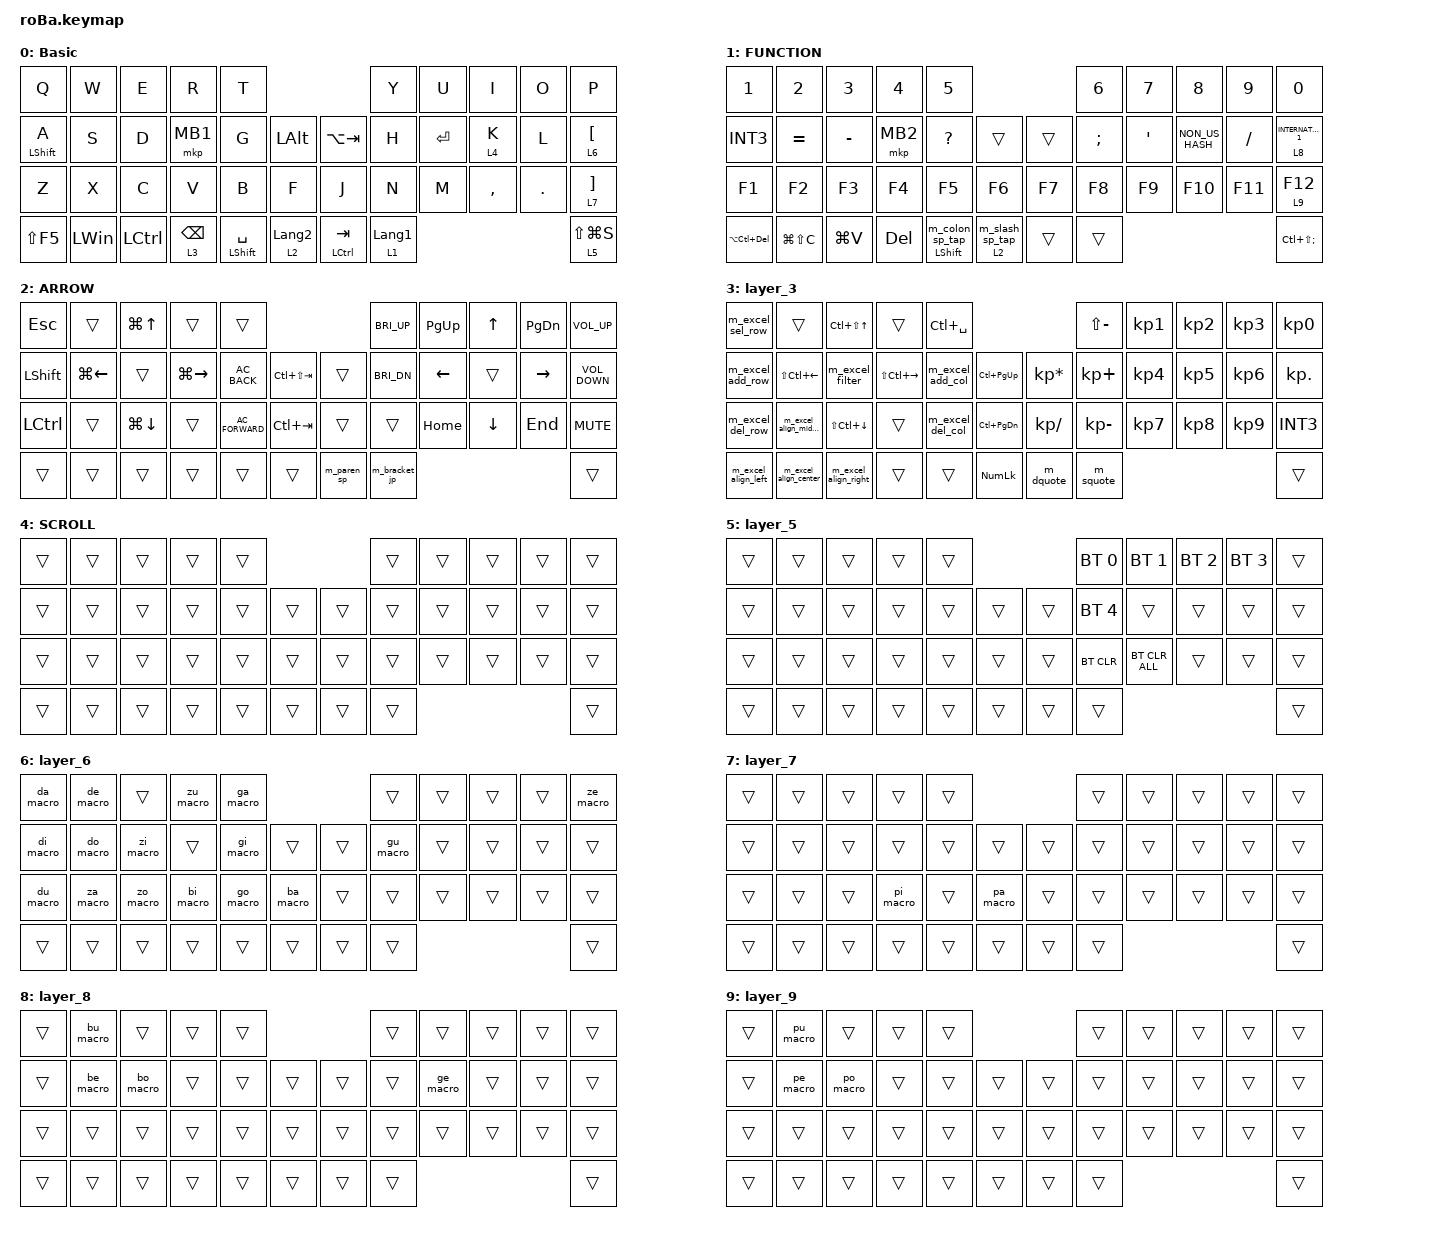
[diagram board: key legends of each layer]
#include <behaviors.dtsi>
#include <dt-bindings/zmk/bt.h>
#include <dt-bindings/zmk/keys.h>
#include <dt-bindings/zmk/pointing.h>

// ==========================================================
// グローバル設定
// ==========================================================

&trackball { scroll-layers = <4>; };

&mt {
    flavor = "balanced";
    tapping-term-ms = <200>;
    quick-tap-ms = <175>;
    require-prior-idle-ms = <35>;
    retro-tap;
};

&lt {
    flavor = "balanced";
    tapping-term-ms = <200>;
    quick-tap-ms = <175>;
};

&kscan0 { debounce-period = <10>; };

/ {
    combos {
        compatible = "zmk,combos";
        timeout-ms = <80>;

        // --- システム・編集系 (既存) ---

        tab {
            bindings = <&kp TAB>;
            key-positions = <11 12>;
        };

        muhennkann {
            bindings = <&to_layer_0 INT_MUHENKAN>;
            key-positions = <11 10>;
        };

        select_all {
            bindings = <&kp LC(A)>;
            key-positions = <10 22>;
        };

        copy {
            bindings = <&kp LC(C)>;
            key-positions = <22 24>;
        };

        paste {
            bindings = <&kp LC(V)>;
            key-positions = <22 25>;
        };

        cut {
            bindings = <&kp LC(X)>;
            key-positions = <22 23>;
        };

        // --- 濁音・半濁音コンボ (既存) ---

        c_da {
            key-positions = <0 21>;
            bindings = <&da_macro>;
        };

        c_de {
            key-positions = <1 21>;
            bindings = <&de_macro>;
        };

        c_zu {
            key-positions = <3 21>;
            bindings = <&zu_macro>;
        };

        c_ga {
            key-positions = <4 21>;
            bindings = <&ga_macro>;
        };

        c_di {
            key-positions = <10 21>;
            bindings = <&di_macro>;
        };

        c_do {
            key-positions = <11 21>;
            bindings = <&do_macro>;
        };

        c_zi {
            key-positions = <12 21>;
            bindings = <&zi_macro>;
        };

        c_gi {
            key-positions = <14 21>;
            bindings = <&gi_macro>;
        };

        c_gu {
            key-positions = <17 21>;
            bindings = <&gu_macro>;
        };

        c_du {
            key-positions = <22 21>;
            bindings = <&du_macro>;
        };

        c_za {
            key-positions = <23 21>;
            bindings = <&za_macro>;
        };

        c_zo {
            key-positions = <24 21>;
            bindings = <&zo_macro>;
        };

        c_bi {
            key-positions = <25 21>;
            bindings = <&bi_macro>;
        };

        c_go {
            key-positions = <26 21>;
            bindings = <&go_macro>;
        };

        c_ba {
            key-positions = <27 21>;
            bindings = <&ba_macro>;
        };

        c_pa {
            key-positions = <27 33>;
            bindings = <&pa_macro>;
        };

        c_pi {
            key-positions = <25 33>;
            bindings = <&pi_macro>;
        };

        c_bu {
            key-positions = <1 41 21>;
            bindings = <&bu_macro>;
        };

        c_bo {
            key-positions = <12 41 21>;
            bindings = <&bo_macro>;
        };

        c_be {
            key-positions = <11 41 21>;
            bindings = <&be_macro>;
        };

        c_ze {
            key-positions = <9 41 21>;
            bindings = <&ze_macro>;
        };

        c_ge {
            key-positions = <18 41 21>;
            bindings = <&ge_macro>;
        };

        c_pu {
            key-positions = <1 41 33>;
            bindings = <&pu_macro>;
        };

        c_po {
            key-positions = <12 41 33>;
            bindings = <&po_macro>;
        };

        c_pe {
            key-positions = <11 41 33>;
            bindings = <&pe_macro>;
        };

        // --- 特殊かな L1コンボ (既存) ---

        c_nu {
            key-positions = <0 41>;
            bindings = <&kp N1>;
        };

        c_fu {
            key-positions = <1 41>;
            bindings = <&kp N2>;
        };

        c_a {
            key-positions = <2 41>;
            bindings = <&kp N3>;
        };

        c_u {
            key-positions = <3 41>;
            bindings = <&kp N4>;
        };

        c_e {
            key-positions = <4 41>;
            bindings = <&kp N5>;
        };

        c_o {
            key-positions = <5 41>;
            bindings = <&kp N6>;
        };

        c_ho {
            key-positions = <12 41>;
            bindings = <&kp MINUS>;
        };

        c_he {
            key-positions = <11 41>;
            bindings = <&kp EQUAL>;
        };

        c_ya {
            key-positions = <6 41>;
            bindings = <&kp N7>;
        };

        c_yu {
            key-positions = <7 41>;
            bindings = <&kp N8>;
        };

        c_yo {
            key-positions = <8 41>;
            bindings = <&kp N9>;
        };

        c_wa {
            key-positions = <9 41>;
            bindings = <&kp N0>;
        };

        c_cho {
            key-positions = <10 41>;
            bindings = <&kp INT3>;
        };

        c_ro {
            key-positions = <21 41>;
            bindings = <&kp INTERNATIONAL_1>;
        };

        c_re {
            key-positions = <17 41>;
            bindings = <&kp SEMICOLON>;
        };

        c_ke {
            key-positions = <18 41>;
            bindings = <&kp SQT>;
        };

        c_mu {
            key-positions = <19 41>;
            bindings = <&kp NON_US_HASH>;
        };

        c_me {
            key-positions = <20 41>;
            bindings = <&kp SLASH>;
        };

        // --- 小書き・句読点 (既存) ---

        c_s_i {
            key-positions = <2 38>;
            bindings = <&kp LS(E)>;
        };

        c_s_tu {
            key-positions = <22 38>;
            bindings = <&kp LS(Z)>;
        };

        c_ten {
            key-positions = <31 38>;
            bindings = <&kp LS(COMMA)>;
        };

        c_maru {
            key-positions = <32 38>;
            bindings = <&kp LS(DOT)>;
        };

        c_s_a {
            key-positions = <2 38 41>;
            bindings = <&kp LS(N3)>;
        };

        c_s_u {
            key-positions = <3 38 41>;
            bindings = <&kp LS(N4)>;
        };

        c_s_e {
            key-positions = <4 38 41>;
            bindings = <&kp LS(N5)>;
        };

        c_s_o {
            key-positions = <5 38 41>;
            bindings = <&kp LS(N6)>;
        };

        c_s_ya {
            key-positions = <6 38 41>;
            bindings = <&kp LS(N7)>;
        };

        c_s_yu {
            key-positions = <7 38 41>;
            bindings = <&kp LS(N8)>;
        };

        c_s_yo {
            key-positions = <8 38 41>;
            bindings = <&kp LS(N9)>;
        };

        c_wo {
            key-positions = <9 38 41>;
            bindings = <&kp LS(N0)>;
        };

        // ==========================================================
        // 拗音・外来語コンボ
        // ==========================================================

        c_kya {
            key-positions = <14 6>;
            bindings = <&m_kya>;
        };

        c_kyu {
            key-positions = <14 7>;
            bindings = <&m_kyu>;
        };

        c_kyo {
            key-positions = <14 8>;
            bindings = <&m_kyo>;
        };

        c_sha {
            key-positions = <12 6>;
            bindings = <&m_sha>;
        };

        c_shu {
            key-positions = <12 7>;
            bindings = <&m_shu>;
        };

        c_sho {
            key-positions = <12 8>;
            bindings = <&m_sho>;
        };

        c_she {
            key-positions = <12 32>;
            bindings = <&m_she>;
        };

        c_cha {
            key-positions = <10 6>;
            bindings = <&m_cha>;
        };

        c_chu {
            key-positions = <10 7>;
            bindings = <&m_chu>;
        };

        c_cho_y {
            key-positions = <10 8>;
            bindings = <&m_cho_y>;
        };

        c_che {
            key-positions = <10 32>;
            bindings = <&m_che>;
        };

        c_hya {
            key-positions = <25 6>;
            bindings = <&m_hya>;
        };

        c_hyu {
            key-positions = <25 7>;
            bindings = <&m_hyu>;
        };

        c_hyo {
            key-positions = <25 8>;
            bindings = <&m_hyo>;
        };

        c_nya {
            key-positions = <7 1>;
            bindings = <&m_nya>;
        };

        c_nyu {
            key-positions = <7 2>;
            bindings = <&m_nyu>;
        };

        c_nyo {
            key-positions = <7 3>;
            bindings = <&m_nyo>;
        };

        c_mya {
            key-positions = <29 1>;
            bindings = <&m_mya>;
        };

        c_myu {
            key-positions = <29 2>;
            bindings = <&m_myu>;
        };

        c_myo {
            key-positions = <29 3>;
            bindings = <&m_myo>;
        };

        c_rya {
            key-positions = <20 1>;
            bindings = <&m_rya>;
        };

        c_ryu {
            key-positions = <20 2>;
            bindings = <&m_ryu>;
        };

        c_ryo {
            key-positions = <20 3>;
            bindings = <&m_ryo>;
        };

        c_fa {
            key-positions = <1 41 29>;
            bindings = <&m_fa>;
        };

        c_fi {
            key-positions = <1 41 30>;
            bindings = <&m_fi>;
        };

        c_fyu {
            key-positions = <1 41 7>;
            bindings = <&m_fyu>;
        };

        c_fe {
            key-positions = <1 41 32>;
            bindings = <&m_fe>;
        };

        c_fo {
            key-positions = <1 41 33>;
            bindings = <&m_fo>;
        };

        c_gya {
            key-positions = <14 6 21>;
            bindings = <&m_gya>;
        };

        c_gyu {
            key-positions = <14 7 21>;
            bindings = <&m_gyu>;
        };

        c_gyo {
            key-positions = <14 8 21>;
            bindings = <&m_gyo>;
        };

        c_ja {
            key-positions = <12 6 21>;
            bindings = <&m_ja>;
        };

        c_ju {
            key-positions = <12 7 21>;
            bindings = <&m_ju>;
        };

        c_jo {
            key-positions = <12 8 21>;
            bindings = <&m_jo>;
        };

        c_je {
            key-positions = <12 32 21>;
            bindings = <&m_je>;
        };

        c_bya {
            key-positions = <25 6 21>;
            bindings = <&m_bya>;
        };

        c_byu {
            key-positions = <25 7 21>;
            bindings = <&m_byu>;
        };

        c_byo {
            key-positions = <25 8 21>;
            bindings = <&m_byo>;
        };

        c_va {
            key-positions = <1 41 21 29>;
            bindings = <&m_va>;
        };

        c_vi {
            key-positions = <1 41 21 30>;
            bindings = <&m_vi>;
        };

        c_ve {
            key-positions = <1 41 21 32>;
            bindings = <&m_ve>;
        };

        c_vo {
            key-positions = <1 41 21 33>;
            bindings = <&m_vo>;
        };

        c_pya {
            key-positions = <25 6 33>;
            bindings = <&m_pya>;
        };

        c_pyu {
            key-positions = <25 7 33>;
            bindings = <&m_pyu>;
        };

        c_pyo {
            key-positions = <25 8 33>;
            bindings = <&m_pyo>;
        };

        // --- 追加: 拗音・外来語コンボ ---

        c_ti {
            key-positions = <1 30>;
            bindings = <&m_ti>;
        };

        c_di_ext {
            key-positions = <1 21 30>;
            bindings = <&m_di>;
        };

        c_tu {
            key-positions = <11 31>;
            bindings = <&m_tu>;
        };

        c_du_ext {
            key-positions = <11 21 31>;
            bindings = <&m_du>;
        };

        c_wi {
            key-positions = <3 41 30>;
            bindings = <&m_wi>;
        };

        c_we {
            key-positions = <3 41 32>;
            bindings = <&m_we>;
        };

        c_wo_ext {
            key-positions = <3 41 33>;
            bindings = <&m_wo>;
        };

        c_tsa {
            key-positions = <22 29>;
            bindings = <&m_tsa>;
        };

        c_tsi {
            key-positions = <22 30>;
            bindings = <&m_tsi>;
        };

        c_tse {
            key-positions = <22 32>;
            bindings = <&m_tse>;
        };

        c_tso {
            key-positions = <22 33>;
            bindings = <&m_tso>;
        };
    };

    macros {
        // --- 既存のマクロ ---

        to_layer_0: to_layer_0 {
            compatible = "zmk,behavior-macro-one-param";
            #binding-cells = <1>;
            bindings = <&to 0 &macro_param_1to1 &kp MACRO_PLACEHOLDER>;
            label = "TO_LAYER_0";
        };

        ga_macro: ga_macro {
            compatible = "zmk,behavior-macro";
            #binding-cells = <0>;
            bindings = <&kp T &kp LEFT_BRACKET>;
            label = "GA_MACRO";
        };

        da_macro: da_macro {
            compatible = "zmk,behavior-macro";
            #binding-cells = <0>;
            bindings = <&kp Q &kp LEFT_BRACKET>;
            label = "DA_MACRO";
        };

        za_macro: za_macro {
            compatible = "zmk,behavior-macro";
            #binding-cells = <0>;
            bindings = <&kp X &kp LEFT_BRACKET>;
            label = "ZA_MACRO";
        };

        ba_macro: ba_macro {
            compatible = "zmk,behavior-macro";
            #binding-cells = <0>;
            bindings = <&kp F &kp LEFT_BRACKET>;
            label = "BA_MACRO";
        };

        gi_macro: gi_macro {
            compatible = "zmk,behavior-macro";
            #binding-cells = <0>;
            bindings = <&kp G &kp LEFT_BRACKET>;
            label = "GI_MACRO";
        };

        zi_macro: zi_macro {
            compatible = "zmk,behavior-macro";
            #binding-cells = <0>;
            bindings = <&kp D &kp LEFT_BRACKET>;
            label = "ZI_MACRO";
        };

        bi_macro: bi_macro {
            compatible = "zmk,behavior-macro";
            #binding-cells = <0>;
            bindings = <&kp V &kp LEFT_BRACKET>;
            label = "BI_MACRO";
        };

        di_macro: di_macro {
            compatible = "zmk,behavior-macro";
            #binding-cells = <0>;
            bindings = <&kp A &kp LEFT_BRACKET>;
            label = "DI_MACRO";
        };

        gu_macro: gu_macro {
            compatible = "zmk,behavior-macro";
            #binding-cells = <0>;
            bindings = <&kp H &kp LEFT_BRACKET>;
            label = "GU_MACRO";
        };

        zu_macro: zu_macro {
            compatible = "zmk,behavior-macro";
            #binding-cells = <0>;
            bindings = <&kp R &kp LEFT_BRACKET>;
            label = "ZU_MACRO";
        };

        de_macro: de_macro {
            compatible = "zmk,behavior-macro";
            #binding-cells = <0>;
            bindings = <&kp W &kp LEFT_BRACKET>;
            label = "DE_MACRO";
        };

        du_macro: du_macro {
            compatible = "zmk,behavior-macro";
            #binding-cells = <0>;
            bindings = <&kp Z &kp LEFT_BRACKET>;
            label = "DU_MACRO";
        };

        ge_macro: ge_macro {
            compatible = "zmk,behavior-macro";
            #binding-cells = <0>;
            bindings = <&kp SQT &kp LEFT_BRACKET>;
            label = "GE_MACRO";
        };

        ze_macro: ze_macro {
            compatible = "zmk,behavior-macro";
            #binding-cells = <0>;
            bindings = <&kp P &kp LEFT_BRACKET>;
            label = "ZE_MACRO";
        };

        be_macro: be_macro {
            compatible = "zmk,behavior-macro";
            #binding-cells = <0>;
            bindings = <&kp EQUAL &kp LEFT_BRACKET>;
            label = "BE_MACRO";
        };

        bo_macro: bo_macro {
            compatible = "zmk,behavior-macro";
            #binding-cells = <0>;
            bindings = <&kp MINUS &kp LEFT_BRACKET>;
            label = "BO_MACRO";
        };

        bu_macro: bu_macro {
            compatible = "zmk,behavior-macro";
            #binding-cells = <0>;
            bindings = <&kp NUMBER_2 &kp LEFT_BRACKET>;
            label = "BU_MACRO";
        };

        go_macro: go_macro {
            compatible = "zmk,behavior-macro";
            #binding-cells = <0>;
            bindings = <&kp B &kp LEFT_BRACKET>;
            label = "GO_MACRO";
        };

        do_macro: do_macro {
            compatible = "zmk,behavior-macro";
            #binding-cells = <0>;
            bindings = <&kp S &kp LEFT_BRACKET>;
            label = "DO_MACRO";
        };

        zo_macro: zo_macro {
            compatible = "zmk,behavior-macro";
            #binding-cells = <0>;
            bindings = <&kp C &kp LEFT_BRACKET>;
            label = "ZO_MACRO";
        };

        pa_macro: pa_macro {
            compatible = "zmk,behavior-macro";
            #binding-cells = <0>;
            bindings = <&kp F &kp RIGHT_BRACKET>;
            label = "PA_MACRO";
        };

        pi_macro: pi_macro {
            compatible = "zmk,behavior-macro";
            #binding-cells = <0>;
            bindings = <&kp V &kp RIGHT_BRACKET>;
            label = "PI_MACRO";
        };

        pu_macro: pu_macro {
            compatible = "zmk,behavior-macro";
            #binding-cells = <0>;
            bindings = <&kp NUMBER_2 &kp RIGHT_BRACKET>;
            label = "PU_MACRO";
        };

        pe_macro: pe_macro {
            compatible = "zmk,behavior-macro";
            #binding-cells = <0>;
            bindings = <&kp EQUAL &kp RIGHT_BRACKET>;
            label = "PE_MACRO";
        };

        po_macro: po_macro {
            compatible = "zmk,behavior-macro";
            #binding-cells = <0>;
            bindings = <&kp MINUS &kp RIGHT_BRACKET>;
            label = "PO_MACRO";
        };

        m_paren_sp: m_paren_sp {
            compatible = "zmk,behavior-macro";
            #binding-cells = <0>;
            bindings = <&kp LANGUAGE_2 &kp SPACE &kp LS(N8) &kp LS(N9) &kp SPACE &kp LEFT &kp LEFT &kp LANGUAGE_1>;
            label = "M_PAREN_SP";
        };

        m_bracket_jp: m_bracket_jp {
            compatible = "zmk,behavior-macro";
            #binding-cells = <0>;
            bindings = <&kp LANGUAGE_2 &kp RBKT &kp NON_US_HASH &kp LEFT &kp LANGUAGE_1>;
            label = "M_BRACKET_JP";
        };

        m_dquote: m_dquote {
            compatible = "zmk,behavior-macro";
            #binding-cells = <0>;
            bindings = <&kp LANGUAGE_2 &kp LS(N2) &kp LS(N2) &kp LEFT &kp LANGUAGE_1>;
            label = "M_DQUOTE";
        };

        m_squote: m_squote {
            compatible = "zmk,behavior-macro";
            #binding-cells = <0>;
            bindings = <&kp LANGUAGE_2 &kp LS(N7) &kp LS(N7) &kp LEFT &kp LANGUAGE_1>;
            label = "M_SQUOTE";
        };

        m_colon_sp: m_colon_sp {
            compatible = "zmk,behavior-macro";
            #binding-cells = <0>;
            bindings = <&kp LANGUAGE_2 &kp SPACE &kp SQT &kp SPACE &kp LANGUAGE_1>;
            label = "M_COLON_SP";
        };

        m_slash_sp: m_slash_sp {
            compatible = "zmk,behavior-macro";
            #binding-cells = <0>;
            bindings = <&kp LANGUAGE_2 &kp SPACE &kp SLASH &kp SPACE &kp LANGUAGE_1>;
            label = "M_SLASH_SP";
        };

        m_kya: m_kya {
            compatible = "zmk,behavior-macro";
            #binding-cells = <0>;
            bindings = <&kp G &kp LS(N7)>;
            label = "KYA";
        };

        m_kyu: m_kyu {
            compatible = "zmk,behavior-macro";
            #binding-cells = <0>;
            bindings = <&kp G &kp LS(N8)>;
            label = "KYU";
        };

        m_kyo: m_kyo {
            compatible = "zmk,behavior-macro";
            #binding-cells = <0>;
            bindings = <&kp G &kp LS(N9)>;
            label = "KYO";
        };

        m_sha: m_sha {
            compatible = "zmk,behavior-macro";
            #binding-cells = <0>;
            bindings = <&kp D &kp LS(N7)>;
            label = "SHA";
        };

        m_shu: m_shu {
            compatible = "zmk,behavior-macro";
            #binding-cells = <0>;
            bindings = <&kp D &kp LS(N8)>;
            label = "SHU";
        };

        m_sho: m_sho {
            compatible = "zmk,behavior-macro";
            #binding-cells = <0>;
            bindings = <&kp D &kp LS(N9)>;
            label = "SHO";
        };

        m_she: m_she {
            compatible = "zmk,behavior-macro";
            #binding-cells = <0>;
            bindings = <&kp D &kp LS(N5)>;
            label = "SHE";
        };

        m_cha: m_cha {
            compatible = "zmk,behavior-macro";
            #binding-cells = <0>;
            bindings = <&kp A &kp LS(N7)>;
            label = "CHA";
        };

        m_chu: m_chu {
            compatible = "zmk,behavior-macro";
            #binding-cells = <0>;
            bindings = <&kp A &kp LS(N8)>;
            label = "CHU";
        };

        m_cho_y: m_cho_y {
            compatible = "zmk,behavior-macro";
            #binding-cells = <0>;
            bindings = <&kp A &kp LS(N9)>;
            label = "CHO_Y";
        };

        m_che: m_che {
            compatible = "zmk,behavior-macro";
            #binding-cells = <0>;
            bindings = <&kp A &kp LS(N5)>;
            label = "CHE";
        };

        m_nya: m_nya {
            compatible = "zmk,behavior-macro";
            #binding-cells = <0>;
            bindings = <&kp I &kp LS(N7)>;
            label = "NYA";
        };

        m_nyu: m_nyu {
            compatible = "zmk,behavior-macro";
            #binding-cells = <0>;
            bindings = <&kp I &kp LS(N8)>;
            label = "NYU";
        };

        m_nyo: m_nyo {
            compatible = "zmk,behavior-macro";
            #binding-cells = <0>;
            bindings = <&kp I &kp LS(N9)>;
            label = "NYO";
        };

        m_hya: m_hya {
            compatible = "zmk,behavior-macro";
            #binding-cells = <0>;
            bindings = <&kp V &kp LS(N7)>;
            label = "HYA";
        };

        m_hyu: m_hyu {
            compatible = "zmk,behavior-macro";
            #binding-cells = <0>;
            bindings = <&kp V &kp LS(N8)>;
            label = "HYU";
        };

        m_hyo: m_hyo {
            compatible = "zmk,behavior-macro";
            #binding-cells = <0>;
            bindings = <&kp V &kp LS(N9)>;
            label = "HYO";
        };

        m_mya: m_mya {
            compatible = "zmk,behavior-macro";
            #binding-cells = <0>;
            bindings = <&kp N &kp LS(N7)>;
            label = "MYA";
        };

        m_myu: m_myu {
            compatible = "zmk,behavior-macro";
            #binding-cells = <0>;
            bindings = <&kp N &kp LS(N8)>;
            label = "MYU";
        };

        m_myo: m_myo {
            compatible = "zmk,behavior-macro";
            #binding-cells = <0>;
            bindings = <&kp N &kp LS(N9)>;
            label = "MYO";
        };

        m_rya: m_rya {
            compatible = "zmk,behavior-macro";
            #binding-cells = <0>;
            bindings = <&kp L &kp LS(N7)>;
            label = "RYA";
        };

        m_ryu: m_ryu {
            compatible = "zmk,behavior-macro";
            #binding-cells = <0>;
            bindings = <&kp L &kp LS(N8)>;
            label = "RYU";
        };

        m_ryo: m_ryo {
            compatible = "zmk,behavior-macro";
            #binding-cells = <0>;
            bindings = <&kp L &kp LS(N9)>;
            label = "RYO";
        };

        m_fa: m_fa {
            compatible = "zmk,behavior-macro";
            #binding-cells = <0>;
            bindings = <&kp N2 &kp LS(N3)>;
            label = "FA";
        };

        m_fi: m_fi {
            compatible = "zmk,behavior-macro";
            #binding-cells = <0>;
            bindings = <&kp N2 &kp LS(E)>;
            label = "FI";
        };

        m_fyu: m_fyu {
            compatible = "zmk,behavior-macro";
            #binding-cells = <0>;
            bindings = <&kp N2 &kp LS(N8)>;
            label = "FYU";
        };

        m_fe: m_fe {
            compatible = "zmk,behavior-macro";
            #binding-cells = <0>;
            bindings = <&kp N2 &kp LS(N5)>;
            label = "FE";
        };

        m_fo: m_fo {
            compatible = "zmk,behavior-macro";
            #binding-cells = <0>;
            bindings = <&kp N2 &kp LS(N6)>;
            label = "FO";
        };

        m_gya: m_gya {
            compatible = "zmk,behavior-macro";
            #binding-cells = <0>;
            bindings = <&kp G &kp LEFT_BRACKET &kp LS(N7)>;
            label = "GYA";
        };

        m_gyu: m_gyu {
            compatible = "zmk,behavior-macro";
            #binding-cells = <0>;
            bindings = <&kp G &kp LEFT_BRACKET &kp LS(N8)>;
            label = "GYU";
        };

        m_gyo: m_gyo {
            compatible = "zmk,behavior-macro";
            #binding-cells = <0>;
            bindings = <&kp G &kp LEFT_BRACKET &kp LS(N9)>;
            label = "GYO";
        };

        m_ja: m_ja {
            compatible = "zmk,behavior-macro";
            #binding-cells = <0>;
            bindings = <&kp D &kp LEFT_BRACKET &kp LS(N7)>;
            label = "JA";
        };

        m_ju: m_ju {
            compatible = "zmk,behavior-macro";
            #binding-cells = <0>;
            bindings = <&kp D &kp LEFT_BRACKET &kp LS(N8)>;
            label = "JU";
        };

        m_jo: m_jo {
            compatible = "zmk,behavior-macro";
            #binding-cells = <0>;
            bindings = <&kp D &kp LEFT_BRACKET &kp LS(N9)>;
            label = "JO";
        };

        m_je: m_je {
            compatible = "zmk,behavior-macro";
            #binding-cells = <0>;
            bindings = <&kp D &kp LEFT_BRACKET &kp LS(N5)>;
            label = "JE";
        };

        m_bya: m_bya {
            compatible = "zmk,behavior-macro";
            #binding-cells = <0>;
            bindings = <&kp V &kp LEFT_BRACKET &kp LS(N7)>;
            label = "BYA";
        };

        m_byu: m_byu {
            compatible = "zmk,behavior-macro";
            #binding-cells = <0>;
            bindings = <&kp V &kp LEFT_BRACKET &kp LS(N8)>;
            label = "BYU";
        };

        m_byo: m_byo {
            compatible = "zmk,behavior-macro";
            #binding-cells = <0>;
            bindings = <&kp V &kp LEFT_BRACKET &kp LS(N9)>;
            label = "BYO";
        };

        m_pya: m_pya {
            compatible = "zmk,behavior-macro";
            #binding-cells = <0>;
            bindings = <&kp V &kp RIGHT_BRACKET &kp LS(N7)>;
            label = "PYA";
        };

        m_pyu: m_pyu {
            compatible = "zmk,behavior-macro";
            #binding-cells = <0>;
            bindings = <&kp V &kp RIGHT_BRACKET &kp LS(N8)>;
            label = "PYU";
        };

        m_pyo: m_pyo {
            compatible = "zmk,behavior-macro";
            #binding-cells = <0>;
            bindings = <&kp V &kp RIGHT_BRACKET &kp LS(N9)>;
            label = "PYO";
        };

        m_va: m_va {
            compatible = "zmk,behavior-macro";
            #binding-cells = <0>;
            bindings = <&kp N2 &kp LEFT_BRACKET &kp LS(N3)>;
            label = "VA";
        };

        m_vi: m_vi {
            compatible = "zmk,behavior-macro";
            #binding-cells = <0>;
            bindings = <&kp N2 &kp LEFT_BRACKET &kp LS(E)>;
            label = "VI";
        };

        m_ve: m_ve {
            compatible = "zmk,behavior-macro";
            #binding-cells = <0>;
            bindings = <&kp N2 &kp LEFT_BRACKET &kp LS(N5)>;
            label = "VE";
        };

        m_vo: m_vo {
            compatible = "zmk,behavior-macro";
            #binding-cells = <0>;
            bindings = <&kp N2 &kp LEFT_BRACKET &kp LS(N6)>;
            label = "VO";
        };

        // --- 追加: 拗音・外来語マクロ ---

        m_ti: m_ti {
            compatible = "zmk,behavior-macro";
            #binding-cells = <0>;
            bindings = <&kp W &kp LS(E)>;
            label = "TI";
        };

        m_di: m_di {
            compatible = "zmk,behavior-macro";
            #binding-cells = <0>;
            bindings = <&kp W &kp LEFT_BRACKET &kp LS(E)>;
            label = "DI";
        };

        m_tu: m_tu {
            compatible = "zmk,behavior-macro";
            #binding-cells = <0>;
            bindings = <&kp S &kp LS(N4)>;
            label = "TU";
        };

        m_du: m_du {
            compatible = "zmk,behavior-macro";
            #binding-cells = <0>;
            bindings = <&kp S &kp LEFT_BRACKET &kp LS(N4)>;
            label = "DU";
        };

        m_wi: m_wi {
            compatible = "zmk,behavior-macro";
            #binding-cells = <0>;
            bindings = <&kp N4 &kp LS(E)>;
            label = "WI";
        };

        m_we: m_we {
            compatible = "zmk,behavior-macro";
            #binding-cells = <0>;
            bindings = <&kp N4 &kp LS(N5)>;
            label = "WE";
        };

        m_wo: m_wo {
            compatible = "zmk,behavior-macro";
            #binding-cells = <0>;
            bindings = <&kp N4 &kp LS(N6)>;
            label = "WO";
        };

        m_tsa: m_tsa {
            compatible = "zmk,behavior-macro";
            #binding-cells = <0>;
            bindings = <&kp Z &kp LS(N3)>;
            label = "TSA";
        };

        m_tsi: m_tsi {
            compatible = "zmk,behavior-macro";
            #binding-cells = <0>;
            bindings = <&kp Z &kp LS(E)>;
            label = "TSI";
        };

        m_tse: m_tse {
            compatible = "zmk,behavior-macro";
            #binding-cells = <0>;
            bindings = <&kp Z &kp LS(N5)>;
            label = "TSE";
        };

        m_tso: m_tso {
            compatible = "zmk,behavior-macro";
            #binding-cells = <0>;
            bindings = <&kp Z &kp LS(N6)>;
            label = "TSO";
        };

        // --- 追加: ZMKの厳格な記述ルール(スキーマ)に準拠した、Hold-Tap用の偽装引数つきマクロ ---

        m_colon_sp_tap: m_colon_sp_tap {
            compatible = "zmk,behavior-macro-one-param"; // 引数を受け取れるマクロ形式
            #binding-cells = <1>;
            bindings = <&kp LANGUAGE_2 &kp SPACE &kp SQT &kp SPACE &kp LANGUAGE_1>;
            label = "M_COLON_SP_TAP";
        };

        m_slash_sp_tap: m_slash_sp_tap {
            compatible = "zmk,behavior-macro-one-param"; // 引数を受け取れるマクロ形式
            #binding-cells = <1>;
            bindings = <&kp LANGUAGE_2 &kp SPACE &kp SLASH &kp SPACE &kp LANGUAGE_1>;
            label = "M_SLASH_SP_TAP";
        };

        // --- 追加: Excel用 行・列操作マクロ ---

        m_excel_sel_row: m_excel_sel_row {
            compatible = "zmk,behavior-macro";
            #binding-cells = <0>;
            wait-ms = <40>;
            tap-ms = <40>;
            bindings = <&kp LANGUAGE_2 &kp LS(SPACE) &kp LANGUAGE_1>;
            label = "M_EXCEL_SEL_ROW";
        };

        m_excel_add_row: m_excel_add_row {
            compatible = "zmk,behavior-macro";
            #binding-cells = <0>;
            wait-ms = <40>;
            tap-ms = <40>;
            bindings = <&kp LANGUAGE_2 &kp LS(SPACE) &kp LS(LC(SEMI)) &kp LANGUAGE_1>;
            label = "M_EXCEL_ADD_ROW";
        };

        m_excel_del_row: m_excel_del_row {
            compatible = "zmk,behavior-macro";
            #binding-cells = <0>;
            wait-ms = <40>;
            tap-ms = <40>;
            bindings = <&kp LANGUAGE_2 &kp LS(SPACE) &kp LC(MINUS) &kp LANGUAGE_1>;
            label = "M_EXCEL_DEL_ROW";
        };

        m_excel_add_col: m_excel_add_col {
            compatible = "zmk,behavior-macro";
            #binding-cells = <0>;
            wait-ms = <40>;
            tap-ms = <40>;
            bindings = <&kp LC(SPACE) &kp LS(LC(SEMI))>;
            label = "M_EXCEL_ADD_COL";
        };

        m_excel_del_col: m_excel_del_col {
            compatible = "zmk,behavior-macro";
            #binding-cells = <0>;
            wait-ms = <40>;
            tap-ms = <40>;
            bindings = <&kp LC(SPACE) &kp LC(MINUS)>;
            label = "M_EXCEL_DEL_COL";
        };

        // --- 追加: Excel用 オートフィルター(プルダウン) マクロ (Alt -> A -> T) ---

        m_excel_filter: m_excel_filter {
            compatible = "zmk,behavior-macro";
            #binding-cells = <0>;
            wait-ms = <40>;
            tap-ms = <40>;
            bindings = <&kp LEFT_ALT &kp A &kp T>;
            label = "M_EXCEL_FILTER";
        };

        // --- 追加: Excel用 セル配置マクロ (Alt -> H -> A -> L / C / R / M) ---

        m_excel_align_left: m_excel_align_left {
            compatible = "zmk,behavior-macro";
            #binding-cells = <0>;
            wait-ms = <40>;
            tap-ms = <40>;
            bindings = <&kp LEFT_ALT &kp H &kp A &kp L>;
            label = "M_EXCEL_ALIGN_LEFT";
        };

        m_excel_align_center: m_excel_align_center {
            compatible = "zmk,behavior-macro";
            #binding-cells = <0>;
            wait-ms = <40>;
            tap-ms = <40>;
            bindings = <&kp LEFT_ALT &kp H &kp A &kp C>;
            label = "M_EXCEL_ALIGN_CENTER";
        };

        m_excel_align_right: m_excel_align_right {
            compatible = "zmk,behavior-macro";
            #binding-cells = <0>;
            wait-ms = <40>;
            tap-ms = <40>;
            bindings = <&kp LEFT_ALT &kp H &kp A &kp R>;
            label = "M_EXCEL_ALIGN_RIGHT";
        };

        m_excel_align_middle: m_excel_align_middle {
            compatible = "zmk,behavior-macro";
            #binding-cells = <0>;
            wait-ms = <40>;
            tap-ms = <40>;
            bindings = <&kp LEFT_ALT &kp H &kp A &kp M>;
            label = "M_EXCEL_ALIGN_MIDDLE";
        };
    };

    behaviors {
        lt_bs: lt_bs {
            compatible = "zmk,behavior-hold-tap";
            label = "LT_BACKSPACE";
            bindings = <&mo>, <&kp>;

            #binding-cells = <2>;
            tapping-term-ms = <200>;
            quick-tap-ms = <175>;
            retro-tap;
            flavor = "balanced";
        };

        lt_scroll: lt_scroll {
            compatible = "zmk,behavior-hold-tap";
            label = "LT_SCROLL";
            bindings = <&mo>, <&kp>;

            #binding-cells = <2>;
            tapping-term-ms = <100>;
            quick-tap-ms = <120>;
            flavor = "hold-preferred";
        };

        lt_retro: lt_retro {
            compatible = "zmk,behavior-hold-tap";
            label = "LT_RETRO";
            bindings = <&mo>, <&kp>;

            #binding-cells = <2>;
            tapping-term-ms = <100>;
            quick-tap-ms = <120>;
            retro-tap;
            flavor = "balanced";
        };

        // --- 追加: 引数付きマクロを受け付ける正しい形式の Hold-Tap ---

        mt_colon: mt_colon {
            compatible = "zmk,behavior-hold-tap";
            label = "MT_COLON";
            bindings = <&kp>, <&m_colon_sp_tap>;

            #binding-cells = <2>;
            tapping-term-ms = <200>;
            quick-tap-ms = <175>;
            flavor = "balanced";
        };

        lt_slash: lt_slash {
            compatible = "zmk,behavior-hold-tap";
            label = "LT_SLASH";
            bindings = <&mo>, <&m_slash_sp_tap>;

            #binding-cells = <2>;
            tapping-term-ms = <200>;
            quick-tap-ms = <175>;
            flavor = "balanced";
        };
    };

    keymap {
        compatible = "zmk,keymap";

        Basic {
            bindings = <
&kp Q             &kp W         &kp E      &kp R               &kp T                                                                   &kp Y                   &kp U      &kp I           &kp O    &kp P
&mt LEFT_SHIFT A  &kp S         &kp D      &mkp MB1            &kp G                 &kp LEFT_ALT                &kp LA(TAB)           &kp H                   &kp ENTER  &lt_scroll 4 K  &kp L    &lt_retro 6 LEFT_BRACKET
&kp Z             &kp X         &kp C      &kp V               &kp B                 &kp F                       &kp J                 &kp N                   &kp M      &kp COMMA       &kp DOT  &lt_retro 7 RIGHT_BRACKET
&kp LS(F5)        &kp LEFT_WIN  &kp LCTRL  &lt_bs 3 BACKSPACE  &mt LEFT_SHIFT SPACE  &lt_retro 2 LANGUAGE_2      &mt LEFT_CONTROL TAB  &lt_retro 1 LANGUAGE_1                                      &lt_retro 5 LS(LG(S))
            >;
        };

        // --- 変更: 左手親指の2つ目・3つ目に専用の Hold-Tap を配置 (最後に 0 というダミー引数を渡して整合性をとっています) ---

        FUNCTION {
            bindings = <
&kp NUMBER_1        &kp NUMBER_2   &kp NUMBER_3  &kp NUMBER_4  &kp N5                                             &kp NUMBER_6   &kp N7   &kp N8           &kp N9     &kp N0
&kp INT3            &kp EQUAL      &kp MINUS     &mkp MB2      &kp QUESTION            &trans             &trans  &kp SEMICOLON  &kp SQT  &kp NON_US_HASH  &kp SLASH  &lt_retro 8 INTERNATIONAL_1
&kp F1              &kp F2         &kp F3        &kp F4        &kp F5                  &kp F6             &kp F7  &kp F8         &kp F9   &kp F10          &kp F11    &lt_retro 9 F12
&kp LA(LC(DELETE))  &kp LG(LS(C))  &kp LG(V)     &kp DELETE    &mt_colon LEFT_SHIFT 0  &lt_slash 2 0      &trans  &trans                                              &kp LC(LS(SEMI))
            >;
        };

        ARROW {
            bindings = <
&kp ESCAPE      &trans        &kp LG(UP_ARROW)  &trans         &trans                                              &kp C_BRI_UP   &kp PAGE_UP  &kp UP_ARROW  &kp PAGE_DOWN  &kp C_VOLUME_UP
&kp LEFT_SHIFT  &kp LG(LEFT)  &trans            &kp LG(RIGHT)  &kp C_AC_BACK     &kp LC(LS(TAB))      &trans       &kp C_BRI_DN   &kp LEFT     &trans        &kp RIGHT      &kp C_VOLUME_DOWN
&kp LCTRL       &trans        &kp LG(DOWN)      &trans         &kp C_AC_FORWARD  &kp LC(TAB)          &trans       &trans         &kp HOME     &kp DOWN      &kp END        &kp C_MUTE
&trans          &trans        &trans            &trans         &trans            &trans               &m_paren_sp  &m_bracket_jp                                            &trans
            >;
        };

        layer_3 {
            bindings = <
&m_excel_sel_row     &trans                 &kp LC(LS(UP_ARROW))    &trans             &kp LC(SPACE)                                             &kp LS(MINUS)  &kp KP_N1  &kp KP_N2  &kp KP_N3  &kp KP_N0
&m_excel_add_row     &kp LS(LC(LEFT))       &m_excel_filter         &kp LS(LC(RIGHT))  &m_excel_add_col  &kp LC(PAGE_UP)        &kp KP_ASTERISK  &kp KP_PLUS    &kp KP_N4  &kp KP_N5  &kp KP_N6  &kp KP_DOT
&m_excel_del_row     &m_excel_align_middle  &kp LS(LC(DOWN_ARROW))  &trans             &m_excel_del_col  &kp LC(PAGE_DOWN)      &kp KP_SLASH     &kp KP_MINUS   &kp KP_N7  &kp KP_N8  &kp KP_N9  &kp INT3
&m_excel_align_left  &m_excel_align_center  &m_excel_align_right    &trans             &trans            &kp KP_NUMLOCK         &m_dquote        &m_squote                                       &trans
            >;
        };

        SCROLL {
            bindings = <
&trans  &trans  &trans  &trans  &trans                      &trans  &trans  &trans  &trans  &trans
&trans  &trans  &trans  &trans  &trans  &trans      &trans  &trans  &trans  &trans  &trans  &trans
&trans  &trans  &trans  &trans  &trans  &trans      &trans  &trans  &trans  &trans  &trans  &trans
&trans  &trans  &trans  &trans  &trans  &trans      &trans  &trans                          &trans
            >;
        };

        layer_5 {
            bindings = <
&trans  &trans  &trans  &trans  &trans                      &bt BT_SEL 0  &bt BT_SEL 1    &bt BT_SEL 2  &bt BT_SEL 3  &trans
&trans  &trans  &trans  &trans  &trans  &trans      &trans  &bt BT_SEL 4  &trans          &trans        &trans        &trans
&trans  &trans  &trans  &trans  &trans  &trans      &trans  &bt BT_CLR    &bt BT_CLR_ALL  &trans        &trans        &trans
&trans  &trans  &trans  &trans  &trans  &trans      &trans  &trans                                                    &trans
            >;
        };

        layer_6 {
            bindings = <
&da_macro  &de_macro  &trans     &zu_macro  &ga_macro                         &trans     &trans  &trans  &trans  &ze_macro
&di_macro  &do_macro  &zi_macro  &trans     &gi_macro  &trans         &trans  &gu_macro  &trans  &trans  &trans  &trans
&du_macro  &za_macro  &zo_macro  &bi_macro  &go_macro  &ba_macro      &trans  &trans     &trans  &trans  &trans  &trans
&trans     &trans     &trans     &trans     &trans     &trans         &trans  &trans                             &trans
            >;
        };

        layer_7 {
            bindings = <
&trans  &trans  &trans  &trans     &trans                         &trans  &trans  &trans  &trans  &trans
&trans  &trans  &trans  &trans     &trans  &trans         &trans  &trans  &trans  &trans  &trans  &trans
&trans  &trans  &trans  &pi_macro  &trans  &pa_macro      &trans  &trans  &trans  &trans  &trans  &trans
&trans  &trans  &trans  &trans     &trans  &trans         &trans  &trans                          &trans
            >;
        };

        layer_8 {
            bindings = <
&trans  &bu_macro  &trans     &trans  &trans                      &trans  &trans     &trans  &trans  &trans
&trans  &be_macro  &bo_macro  &trans  &trans  &trans      &trans  &trans  &ge_macro  &trans  &trans  &trans
&trans  &trans     &trans     &trans  &trans  &trans      &trans  &trans  &trans     &trans  &trans  &trans
&trans  &trans     &trans     &trans  &trans  &trans      &trans  &trans                             &trans
            >;
        };

        layer_9 {
            bindings = <
&trans  &pu_macro  &trans     &trans  &trans                      &trans  &trans  &trans  &trans  &trans
&trans  &pe_macro  &po_macro  &trans  &trans  &trans      &trans  &trans  &trans  &trans  &trans  &trans
&trans  &trans     &trans     &trans  &trans  &trans      &trans  &trans  &trans  &trans  &trans  &trans
&trans  &trans     &trans     &trans  &trans  &trans      &trans  &trans                          &trans
            >;
        };
    };
};
